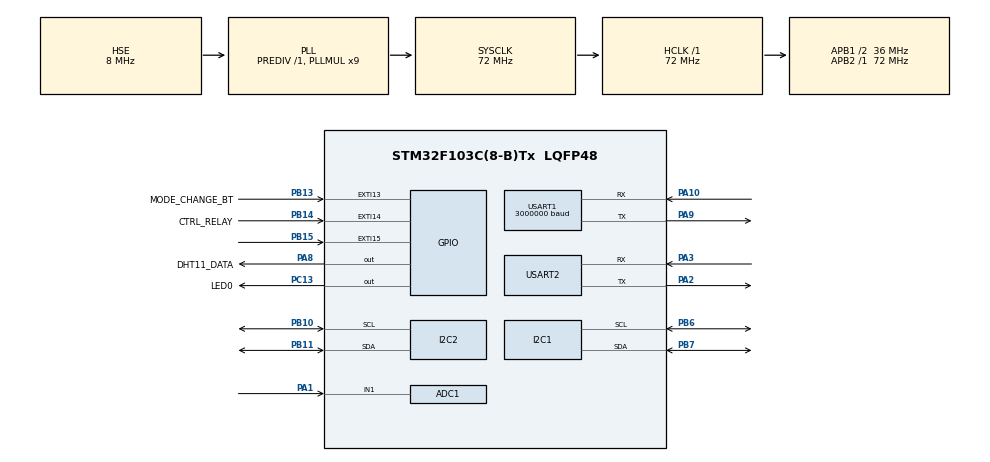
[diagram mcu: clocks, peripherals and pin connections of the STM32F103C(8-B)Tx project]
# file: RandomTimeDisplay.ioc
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ADC1.Channel-0\#ChannelRegularConversion=ADC_CHANNEL_1
ADC1.NbrOfConversionFlag=1
ADC1.SamplingTime-0\#ChannelRegularConversion=ADC_SAMPLETIME_55CYCLES_5
ADC1.master=1
Dma.ADC1.2.Direction=DMA_PERIPH_TO_MEMORY
Dma.ADC1.2.Instance=DMA1_Channel1
Dma.ADC1.2.MemDataAlignment=DMA_MDATAALIGN_WORD
Dma.ADC1.2.MemInc=DMA_MINC_ENABLE
Dma.ADC1.2.Mode=DMA_CIRCULAR
Dma.ADC1.2.PeriphDataAlignment=DMA_PDATAALIGN_WORD
Dma.ADC1.2.PeriphInc=DMA_PINC_DISABLE
Dma.ADC1.2.Priority=DMA_PRIORITY_LOW
Dma.I2C1_RX.3.Direction=DMA_PERIPH_TO_MEMORY
Dma.I2C1_RX.3.Instance=DMA1_Channel7
Dma.I2C1_RX.3.MemDataAlignment=DMA_MDATAALIGN_BYTE
Dma.I2C1_RX.3.MemInc=DMA_MINC_ENABLE
Dma.I2C1_RX.3.Mode=DMA_NORMAL
Dma.I2C1_RX.3.PeriphDataAlignment=DMA_PDATAALIGN_BYTE
Dma.I2C1_RX.3.PeriphInc=DMA_PINC_DISABLE
Dma.I2C1_RX.3.Priority=DMA_PRIORITY_LOW
Dma.I2C1_TX.4.Direction=DMA_MEMORY_TO_PERIPH
Dma.I2C1_TX.4.Instance=DMA1_Channel6
Dma.I2C1_TX.4.MemDataAlignment=DMA_MDATAALIGN_BYTE
Dma.I2C1_TX.4.MemInc=DMA_MINC_ENABLE
Dma.I2C1_TX.4.Mode=DMA_NORMAL
Dma.I2C1_TX.4.PeriphDataAlignment=DMA_PDATAALIGN_BYTE
Dma.I2C1_TX.4.PeriphInc=DMA_PINC_DISABLE
Dma.I2C1_TX.4.Priority=DMA_PRIORITY_LOW
Dma.Request0=USART1_RX
Dma.Request1=USART1_TX
Dma.Request2=ADC1
Dma.Request3=I2C1_RX
Dma.Request4=I2C1_TX
Dma.USART1_RX.0.Direction=DMA_PERIPH_TO_MEMORY
Dma.USART1_RX.0.Instance=DMA1_Channel5
Dma.USART1_RX.0.MemDataAlignment=DMA_MDATAALIGN_BYTE
Dma.USART1_RX.0.MemInc=DMA_MINC_ENABLE
Dma.USART1_RX.0.Mode=DMA_NORMAL
Dma.USART1_RX.0.PeriphDataAlignment=DMA_PDATAALIGN_BYTE
Dma.USART1_RX.0.PeriphInc=DMA_PINC_DISABLE
Dma.USART1_RX.0.Priority=DMA_PRIORITY_MEDIUM
Dma.USART1_TX.1.Direction=DMA_MEMORY_TO_PERIPH
Dma.USART1_TX.1.Instance=DMA1_Channel4
Dma.USART1_TX.1.MemDataAlignment=DMA_MDATAALIGN_BYTE
Dma.USART1_TX.1.MemInc=DMA_MINC_ENABLE
Dma.USART1_TX.1.Mode=DMA_NORMAL
Dma.USART1_TX.1.PeriphDataAlignment=DMA_PDATAALIGN_BYTE
Dma.USART1_TX.1.PeriphInc=DMA_PINC_DISABLE
Dma.USART1_TX.1.Priority=DMA_PRIORITY_MEDIUM
FREERTOS.BinarySemaphores01=Usart1_Receive_BinSemaphore,Dynamic,NULL;en_refresh_screen,Dynamic,NULL
FREERTOS.INCLUDE_xQueueGetMutexHolder=1
FREERTOS.INCLUDE_xSemaphoreGetMutexHolder=1
FREERTOS.Tasks01=defaultTask,48,128,StartDefaultTask,Default,NULL,Dynamic,NULL,NULL;LED_TASK,8,128,led_task,Default,NULL,Dynamic,NULL,NULL;USART1_TASK,8,256,usart1_task,Default,NULL,Dynamic,NULL,NULL;SCREEN,8,128,thread_screen,Default,NULL,Dynamic,NULL,NULL
FREERTOS.configTOTAL_HEAP_SIZE=10240
FREERTOS.configUSE_RECURSIVE_MUTEXES=1
Mcu.Family=STM32F1
Mcu.Name=STM32F103C(8-B)Tx
Mcu.Package=LQFP48
NVIC.ADC1_2_IRQn=true\:5\:0\:false\:false\:true\:true\:true\:true\:true
NVIC.DMA1_Channel1_IRQn=true\:5\:0\:false\:false\:true\:true\:false\:true\:true
NVIC.DMA1_Channel4_IRQn=true\:5\:0\:false\:false\:true\:true\:false\:true\:true
NVIC.DMA1_Channel5_IRQn=true\:5\:0\:false\:false\:true\:true\:false\:true\:true
NVIC.DMA1_Channel6_IRQn=true\:5\:0\:false\:false\:true\:true\:false\:true\:true
NVIC.DMA1_Channel7_IRQn=true\:5\:0\:false\:false\:true\:true\:false\:true\:true
NVIC.EXTI15_10_IRQn=true\:9\:0\:true\:false\:true\:true\:true\:true\:true
NVIC.I2C1_ER_IRQn=true\:5\:0\:false\:false\:true\:true\:true\:true\:true
NVIC.I2C1_EV_IRQn=true\:5\:0\:false\:false\:true\:true\:true\:true\:true
NVIC.I2C2_ER_IRQn=true\:5\:0\:false\:false\:true\:true\:true\:true\:true
NVIC.I2C2_EV_IRQn=true\:5\:0\:false\:false\:true\:true\:true\:true\:true
NVIC.PriorityGroup=NVIC_PRIORITYGROUP_4
NVIC.TIM2_IRQn=true\:0\:0\:false\:false\:true\:false\:false\:true\:true
NVIC.TimeBase=TIM2_IRQn
NVIC.TimeBaseIP=TIM2
NVIC.USART1_IRQn=true\:5\:0\:false\:false\:true\:true\:true\:true\:true
NVIC.USART2_IRQn=true\:9\:0\:true\:false\:true\:true\:true\:true\:true
PA1.Signal=ADCx_IN1
PA10.Mode=Asynchronous
PA10.Signal=USART1_RX
PA13.Mode=Serial_Wire
PA13.Signal=SYS_JTMS-SWDIO
PA14.Mode=Serial_Wire
PA14.Signal=SYS_JTCK-SWCLK
PA2.Mode=Asynchronous
PA2.Signal=USART2_TX
PA3.Mode=Asynchronous
PA3.Signal=USART2_RX
PA8.GPIO_Label=DHT11_DATA
PA8.GPIO_PuPd=GPIO_PULLUP
PA8.GPIO_Speed=GPIO_SPEED_FREQ_MEDIUM
PA8.PinState=GPIO_PIN_SET
PA8.Signal=GPIO_Output
PA9.Mode=Asynchronous
PA9.Signal=USART1_TX
PB10.Mode=I2C
PB10.Signal=I2C2_SCL
PB11.Mode=I2C
PB11.Signal=I2C2_SDA
PB13.GPIO_Label=MODE_CHANGE_BT
PB13.GPIO_PuPd=GPIO_PULLUP
PB13.Signal=GPXTI13
PB14.GPIO_Label=CTRL_RELAY
PB14.GPIO_PuPd=GPIO_PULLUP
PB14.Signal=GPXTI14
PB15.Signal=GPXTI15
PB6.Mode=I2C
PB6.Signal=I2C1_SCL
PB7.Mode=I2C
PB7.Signal=I2C1_SDA
PC13-TAMPER-RTC.GPIO_Label=LED0
PC13-TAMPER-RTC.GPIO_PuPd=GPIO_PULLUP
PC13-TAMPER-RTC.PinState=GPIO_PIN_SET
PC13-TAMPER-RTC.Signal=GPIO_Output
PD0-OSC_IN.Mode=HSE-External-Oscillator
PD0-OSC_IN.Signal=RCC_OSC_IN
PD1-OSC_OUT.Mode=HSE-External-Oscillator
PD1-OSC_OUT.Signal=RCC_OSC_OUT
ProjectManager.HeapSize=0x200
ProjectManager.StackSize=0x400
ProjectManager.TargetToolchain=MDK-ARM V5.27
RCC.ADCPresc=RCC_ADCPCLK2_DIV6
RCC.AHBFreq_Value=72000000
RCC.APB1CLKDivider=RCC_HCLK_DIV2
RCC.APB1Freq_Value=36000000
RCC.APB1TimFreq_Value=72000000
RCC.APB2Freq_Value=72000000
RCC.APB2TimFreq_Value=72000000
RCC.HCLKFreq_Value=72000000
RCC.PLLMUL=RCC_PLL_MUL9
RCC.PLLSourceVirtual=RCC_PLLSOURCE_HSE
RCC.SYSCLKFreq_VALUE=72000000
RCC.SYSCLKSource=RCC_SYSCLKSOURCE_PLLCLK
RCC.USBFreq_Value=72000000
SH.ADCx_IN1.0=ADC1_IN1,IN1
USART1.BaudRate=3000000
USART1.VirtualMode=VM_ASYNC
USART2.VirtualMode=VM_ASYNC
VP_FREERTOS_VS_CMSIS_V2.Mode=CMSIS_V2
VP_SYS_VS_tim2.Mode=TIM2
board=custom

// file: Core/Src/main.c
/* USER CODE BEGIN Header */
/**
  ******************************************************************************
  * @file           : main.c
  * @brief          : Main program body
  ******************************************************************************
  * @attention
  *
  * <h2><center>&copy; Copyright (c) 2022 STMicroelectronics.
  * All rights reserved.</center></h2>
  *
  * This software component is licensed by ST under Ultimate Liberty license
  * SLA0044, the "License"; You may not use this file except in compliance with
  * the License. You may obtain a copy of the License at:
  *                             www.st.com/SLA0044
  *
  ******************************************************************************
  */
/* USER CODE END Header */
#include "main.h"
#include "cmsis_os.h"
#include "adc.h"
#include "dma.h"
#include "i2c.h"
#include "usart.h"
#include "gpio.h"

/* USER CODE BEGIN Includes */
#include "delay.h"
/* USER CODE END Includes */

void SystemClock_Config(void);
void MX_FREERTOS_Init(void);

int main(void)
{

  /* MCU Configuration--------------------------------------------------------*/

  /* Reset of all peripherals, Initializes the Flash interface and the Systick. */
  HAL_Init();

  /* Configure the system clock */
  SystemClock_Config();

  /* Initialize all configured peripherals */
  MX_GPIO_Init();
  MX_DMA_Init();
  MX_USART1_UART_Init();
  MX_ADC1_Init();
  MX_I2C1_Init();
  MX_I2C2_Init();
  MX_USART2_UART_Init();
  /* USER CODE BEGIN 2 */
	delay_init();
	//HAL_UART_Receive_DMA(&huart1, (uint8_t*)USART_RX_BUF, USART_REC_LEN);     //设置DMA传输，将串口1的数据搬运到recvive_buff中，每次255个字节
  /* USER CODE END 2 */

  /* Init scheduler */
  osKernelInitialize();  /* Call init function for freertos objects (in freertos.c) */
  MX_FREERTOS_Init();

  /* Start scheduler */
  osKernelStart();

  /* We should never get here as control is now taken by the scheduler */
  /* Infinite loop */
  while (1)
  {

  }
}

void SystemClock_Config(void)
{
  RCC_OscInitTypeDef RCC_OscInitStruct = {0};
  RCC_ClkInitTypeDef RCC_ClkInitStruct = {0};
  RCC_PeriphCLKInitTypeDef PeriphClkInit = {0};

  /** Initializes the RCC Oscillators according to the specified parameters
  * in the RCC_OscInitTypeDef structure.
  */
  RCC_OscInitStruct.OscillatorType = RCC_OSCILLATORTYPE_HSE;
  RCC_OscInitStruct.HSEState = RCC_HSE_ON;
  RCC_OscInitStruct.HSEPredivValue = RCC_HSE_PREDIV_DIV1;
  RCC_OscInitStruct.HSIState = RCC_HSI_ON;
  RCC_OscInitStruct.PLL.PLLState = RCC_PLL_ON;
  RCC_OscInitStruct.PLL.PLLSource = RCC_PLLSOURCE_HSE;
  RCC_OscInitStruct.PLL.PLLMUL = RCC_PLL_MUL9;
  if (HAL_RCC_OscConfig(&RCC_OscInitStruct) != HAL_OK)
  {
    Error_Handler();
  }

  /** Initializes the CPU, AHB and APB buses clocks
  */
  RCC_ClkInitStruct.ClockType = RCC_CLOCKTYPE_HCLK|RCC_CLOCKTYPE_SYSCLK
                              |RCC_CLOCKTYPE_PCLK1|RCC_CLOCKTYPE_PCLK2;
  RCC_ClkInitStruct.SYSCLKSource = RCC_SYSCLKSOURCE_PLLCLK;
  RCC_ClkInitStruct.AHBCLKDivider = RCC_SYSCLK_DIV1;
  RCC_ClkInitStruct.APB1CLKDivider = RCC_HCLK_DIV2;
  RCC_ClkInitStruct.APB2CLKDivider = RCC_HCLK_DIV1;

  if (HAL_RCC_ClockConfig(&RCC_ClkInitStruct, FLASH_LATENCY_2) != HAL_OK)
  {
    Error_Handler();
  }
  PeriphClkInit.PeriphClockSelection = RCC_PERIPHCLK_ADC;
  PeriphClkInit.AdcClockSelection = RCC_ADCPCLK2_DIV6;
  if (HAL_RCCEx_PeriphCLKConfig(&PeriphClkInit) != HAL_OK)
  {
    Error_Handler();
  }
}

void HAL_TIM_PeriodElapsedCallback(TIM_HandleTypeDef *htim)
{
  if (htim->Instance == TIM2) {
    HAL_IncTick();
  }
}

void Error_Handler(void)
{
  __disable_irq();
  while (1)
  {
  }
}

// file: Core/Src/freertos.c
/* USER CODE BEGIN Header */
/**
 ******************************************************************************
 * File Name          : freertos.c
 * Description        : Code for freertos applications
 ******************************************************************************
 * @attention
 *
 * <h2><center>&copy; Copyright (c) 2022 STMicroelectronics.
 * All rights reserved.</center></h2>
 *
 * This software component is licensed by ST under Ultimate Liberty license
 * SLA0044, the "License"; You may not use this file except in compliance with
 * the License. You may obtain a copy of the License at:
 *                             www.st.com/SLA0044
 *
 ******************************************************************************
 */
/* USER CODE END Header */

#include "FreeRTOS.h"
#include "task.h"
#include "main.h"
#include "cmsis_os.h"

/* USER CODE BEGIN Includes */
#include "semphr.h"
#include "delay.h"
#include "led.h"
#include "key.h"
#include "usart.h"
#include "string.h"
#include <stdio.h>
#include "usart1.h"
#include "dht11.h"
#include "oled.h"
/* USER CODE END Includes */

/* Definitions for defaultTask */
osThreadId_t defaultTaskHandle;
const osThreadAttr_t defaultTask_attributes = {
  .name = "defaultTask",
  .stack_size = 128 * 4,
  .priority = (osPriority_t) osPriorityRealtime,
};
/* Definitions for LED_TASK */
osThreadId_t LED_TASKHandle;
const osThreadAttr_t LED_TASK_attributes = {
  .name = "LED_TASK",
  .stack_size = 128 * 4,
  .priority = (osPriority_t) osPriorityLow,
};
/* Definitions for USART1_TASK */
osThreadId_t USART1_TASKHandle;
const osThreadAttr_t USART1_TASK_attributes = {
  .name = "USART1_TASK",
  .stack_size = 256 * 4,
  .priority = (osPriority_t) osPriorityLow,
};
/* Definitions for SCREEN */
osThreadId_t SCREENHandle;
const osThreadAttr_t SCREEN_attributes = {
  .name = "SCREEN",
  .stack_size = 128 * 4,
  .priority = (osPriority_t) osPriorityLow,
};
/* Definitions for Usart1_Receive_BinSemaphore */
osSemaphoreId_t Usart1_Receive_BinSemaphoreHandle;
const osSemaphoreAttr_t Usart1_Receive_BinSemaphore_attributes = {
  .name = "Usart1_Receive_BinSemaphore"
};
/* Definitions for en_refresh_screen */
osSemaphoreId_t en_refresh_screenHandle;
const osSemaphoreAttr_t en_refresh_screen_attributes = {
  .name = "en_refresh_screen"
};

void StartDefaultTask(void *argument);
void led_task(void *argument);
void usart1_task(void *argument);
void thread_screen(void *argument);

void MX_FREERTOS_Init(void); /* (MISRA C 2004 rule 8.1) */

void MX_FREERTOS_Init(void) {

  /* Create the semaphores(s) */
  /* creation of Usart1_Receive_BinSemaphore */
  Usart1_Receive_BinSemaphoreHandle = osSemaphoreNew(1, 1, &Usart1_Receive_BinSemaphore_attributes);

  /* creation of en_refresh_screen */
  en_refresh_screenHandle = osSemaphoreNew(1, 1, &en_refresh_screen_attributes);

  /* USER CODE BEGIN RTOS_SEMAPHORES */
    /* add semaphores, ... */
    xSemaphoreTake(Usart1_Receive_BinSemaphoreHandle, portMAX_DELAY);
  /* USER CODE END RTOS_SEMAPHORES */

  /* Create the thread(s) */
  /* creation of defaultTask */
  defaultTaskHandle = osThreadNew(StartDefaultTask, NULL, &defaultTask_attributes);

  /* creation of LED_TASK */
  LED_TASKHandle = osThreadNew(led_task, NULL, &LED_TASK_attributes);

  /* creation of USART1_TASK */
  USART1_TASKHandle = osThreadNew(usart1_task, NULL, &USART1_TASK_attributes);

  /* creation of SCREEN */
  SCREENHandle = osThreadNew(thread_screen, NULL, &SCREEN_attributes);

}

void StartDefaultTask(void *argument)
{
  /* USER CODE BEGIN StartDefaultTask */
    osStatus ret;
    INFO_PRINT("init oled\r\n");
    OLED_Init();
    // g_oled_device_st.oled_show_char(0, 0, '!', 16, 1);
    g_oled_device_st.oled_show_string(0, 0, "dht11 init...", 16);
    if (dht11_init() != 0)
    {
        DEBUG_PRINT("dht11_init() failed!!\r\n");
        g_oled_device_st.oled_show_string(0, 0, "dht11 init failed!", 16);
        delay_xms(1000);
    }

    g_oled_device_st.oled_show_string(0, 0, "system init success", 16);
    delay_xms(1000);
    g_oled_device_st.oled_clear_screen();

    g_oled_device_st.oled_refresh_type_em = SCREEN_REFRESH_MAIN_PAGE;
    ret = osSemaphoreRelease(en_refresh_screenHandle);
    if (ret != osOK)
    {
        ERROR_PRINT("give semaphore failure![%d]\r\n", ret);
    }
    vTaskDelete(NULL);
  /* USER CODE END StartDefaultTask */
}

void led_task(void *argument)
{
  /* USER CODE BEGIN led_task */
    BaseType_t ret = pdFALSE;
    /* Infinite loop */
    for (;;)
    {
#define TEST_DHT11
#ifdef TEST_DHT11
        if (g_dht11_device_st.get_dat11_data(&g_dht11_device_st.dht11_data_temprature, &g_dht11_device_st.dht11_data_humidity) == 0)
        {
            INFO_PRINT("wd:%d, sd:%d\r\n", g_dht11_device_st.dht11_data_temprature, g_dht11_device_st.dht11_data_humidity);
        }
        else
        {
            ERROR_PRINT("get dht11 data error\r\n");
        }
#endif /* TEST_MODE */
        LED0_TOGGLE;
        g_oled_device_st.oled_refresh_type_em = SCREEN_REFRESH_MAIN_PAGE_DATA;
        ret = osSemaphoreRelease(en_refresh_screenHandle);
        if (ret != osOK)
        {
            ERROR_PRINT("give semaphore failure![%d]\r\n", ret);
        }
        delay_ms(500);
    }
  /* USER CODE END led_task */
}

void usart1_task(void *argument)
{
  /* USER CODE BEGIN usart1_task */
    uint8_t len;
    /* Infinite loop */
    for (;;)
    {
        xSemaphoreTake(Usart1_Receive_BinSemaphoreHandle, portMAX_DELAY);
        len = USART_RX_STA & 0x3fff; // get lenth of the data
        printf("data:%s len:%d\r\n", USART_RX_BUF, len);
        memset(USART_RX_BUF, '\0', sizeof(USART_RX_BUF)); // initialization buf
        USART_RX_STA = 0;
        // osDelay(1);
        delay_ms(1);
    }
  /* USER CODE END usart1_task */
}

void thread_screen(void *argument)
{
  /* USER CODE BEGIN thread_screen */
    osStatus ret;
    /* Infinite loop */
    for (;;)
    {
        ret = osSemaphoreAcquire(en_refresh_screenHandle, osWaitForever);
        if (ret != osOK)
        {
            ERROR_PRINT("get semaphore failure![%d]\r\n", ret);
        }
        /* 错误判断避免出现空指�?!! */
        if (g_oled_device_st.oled_clear_screen != NULL ||
            g_oled_device_st.updata_main_page != NULL ||
            g_oled_device_st.updata_main_page_data != NULL)
        {
            switch (g_oled_device_st.oled_refresh_type_em)
            {
            case SCREEN_NONE:
                break;
            case SCREEN_CLREAR:
                g_oled_device_st.oled_clear_screen();
                break;
            case SCREEN_REFRESH_MAIN_PAGE:
                g_oled_device_st.oled_clear_screen();
                g_oled_device_st.updata_main_page(&g_oled_device_st);
                break;
            case SCREEN_REFRESH_MAIN_PAGE_DATA:
                g_oled_device_st.updata_main_page_data(&g_oled_device_st);
                break;
            default:
                ERROR_PRINT("unknown scrrn type!!\r\n");
                break;
            }
        }
        else
        {
            ERROR_PRINT("oled_XXX() is null!!\r\n");
        }
        g_oled_device_st.oled_refresh_type_em = SCREEN_NONE;
        INFO_PRINT("oled refresh\r\n");
        osDelay(1);
    }
  /* USER CODE END thread_screen */
}
